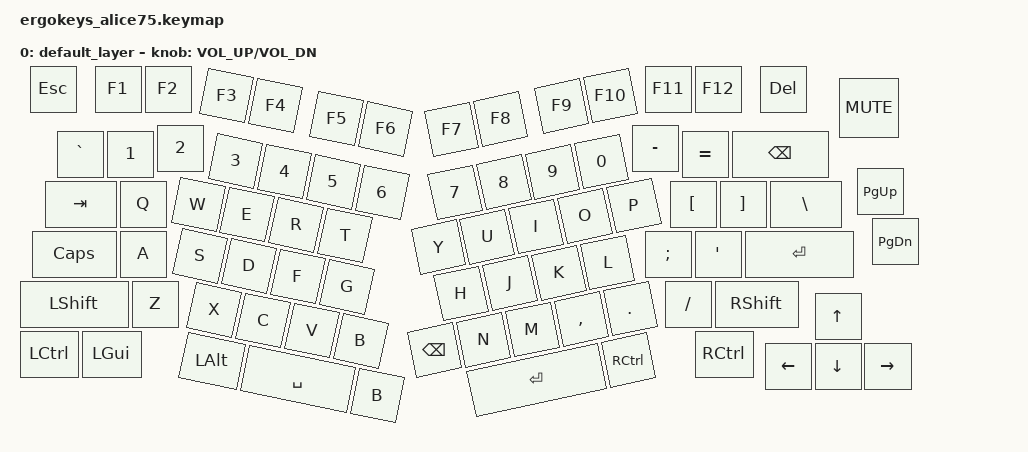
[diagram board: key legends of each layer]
/*
 * Copyright (c) 2020 The ZMK Contributors
 *
 * SPDX-License-Identifier: MIT
 */

#include <behaviors.dtsi>
#include <dt-bindings/zmk/keys.h>
#include <dt-bindings/zmk/bt.h>

/ {
    keymap {
        compatible = "zmk,keymap";

        default_layer  {
// --------- Default QWERTY Layout ---------
// Layer 0 BASE
// -------------------------------------------------------------------------------------------------
// | ESC |  1  |  2  |  3  |  4  |  5  |  6  |  7  |  8  |  9  |  0  |  -  |  =  |    BSPC   | HME |
// -------------------------------------------------------------------------------------------------
// | TAB    |  Q  |  W  |  E  |  R  |  T  |  Y  |  U  |  I  |  O  |  P  |  [  |  ]   |   \   | PGU |
// -------------------------------------------------------------------------------------------------
// | CAPS    |  A  |  S  |  D  |  F  |  G  |  H  |  J  |  K  |  L  |  ;  |  '   |    ENTER   | PGD |
// -------------------------------------------------------------------------------------------------
// | LSHIFT     |  Z  |  X  |  C  |  V  |  B  |  N  |  M  |  ,  |  .  |  /  |    RSHFT |  ↑  | END |
// -------------------------------------------------------------------------------------------------
// | LCTL | LGUI | LALT |                     SPACE         | RALT | RGUI | RCTL |  <- |  ↓  | ->  |
// -------------------------------------------------------------------------------------------------
            bindings = <
&kp ESC  &kp F1  &kp F2  &kp F3  &kp F4  &kp F5  &kp F6   &kp F7  &kp F8  &kp F9  &kp F10  &kp F11 &kp F12  &kp DEL         &kp C_MUTE
&kp GRAVE &kp N1  &kp N2  &kp N3  &kp N4  &kp N5 &kp N6    &kp N7  &kp N8  &kp N9  &kp N0  &kp MINUS &kp EQUAL  &kp BSPC
&kp TAB    &kp Q   &kp W   &kp E   &kp R   &kp T            &kp Y   &kp U   &kp I   &kp O   &kp P   &kp LBKT  &kp RBKT   &kp BSLH  &kp PG_UP
&kp CLCK    &kp A   &kp S   &kp D   &kp F   &kp G            &kp H   &kp J   &kp K   &kp  L  &kp SEMI &kp SQT      &kp ENTER        &kp PG_DN
&kp LSHFT    &kp Z   &kp X   &kp C   &kp V   &kp B    &kp BSPC   &kp N   &kp M   &kp COMMA &kp DOT &kp FSLH  &kp RSHFT     &kp UP   
&kp LCTRL &kp LGUI &kp LALT            &kp SPACE   &kp B            &kp ENTER         &kp RCTRL    &kp RCTRL  &kp LEFT  &kp DOWN  &kp RIGHT 
            >;

            sensor-bindings =
                <&inc_dec_kp C_VOL_UP C_VOL_DN>;
        };
    };
};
